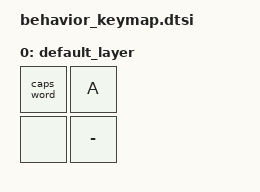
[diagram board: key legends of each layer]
#include <dt-bindings/zmk/keys.h>
#include <behaviors.dtsi>
#include <dt-bindings/zmk/kscan_mock.h>

/*
 * Fork: caps word `idle-timeout-ms` (PATCH_CAPS_WORD_IDLE_TIMEOUT.md).
 *
 * (0,0) &caps_word    (0,1) A
 * (1,0) &none         (1,1) MINUS, breaks the word
 *
 * `exit` is &kp F14 so every deactivation shows in the key log. Key output is safe on
 * `exit` (caps word is already off when it fires); never put it on `enter`.
 */
&caps_word {
    idle-timeout-ms = <500>;
    exit = <&kp F14>;
};

/ {
    keymap {
        compatible = "zmk,keymap";

        default_layer {
            bindings = <
                &caps_word &kp A
                &none      &kp MINUS>;
        };
    };
};
